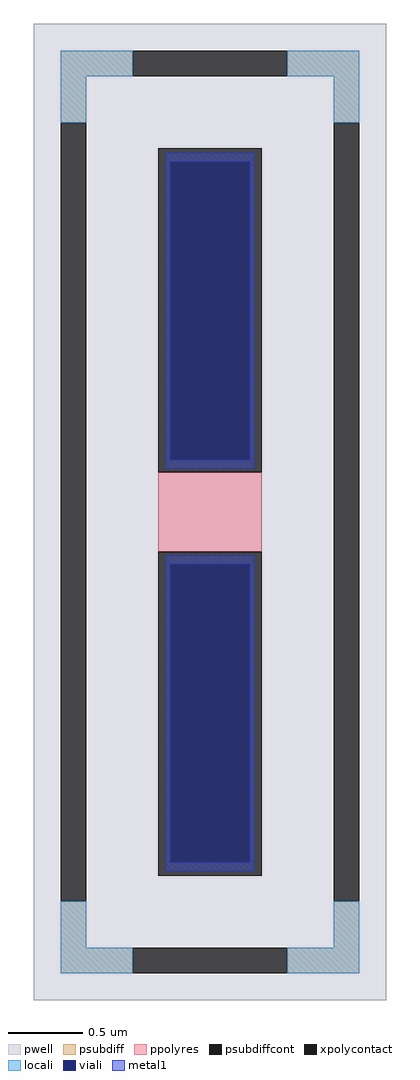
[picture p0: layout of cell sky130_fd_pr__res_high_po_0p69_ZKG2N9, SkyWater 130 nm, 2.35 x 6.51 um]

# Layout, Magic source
magic
tech sky130A
magscale 1 2
<< pwell >>
rect -235 -651 235 651
<< psubdiff >>
rect -199 581 -103 615
rect 103 581 199 615
rect -199 519 -165 581
rect 165 519 199 581
rect -199 -581 -165 -519
rect 165 -581 199 -519
rect -199 -615 -103 -581
rect 103 -615 199 -581
<< psubdiffcont >>
rect -103 581 103 615
rect -199 -519 -165 519
rect 165 -519 199 519
rect -103 -615 103 -581
<< xpolycontact >>
rect -69 53 69 485
rect -69 -485 69 -53
<< ppolyres >>
rect -69 -53 69 53
<< locali >>
rect -199 581 -103 615
rect 103 581 199 615
rect -199 519 -165 581
rect 165 519 199 581
rect -199 -581 -165 -519
rect 165 -581 199 -519
rect -199 -615 -103 -581
rect 103 -615 199 -581
<< viali >>
rect -53 70 53 467
rect -53 -467 53 -70
<< metal1 >>
rect -59 467 59 479
rect -59 70 -53 467
rect 53 70 59 467
rect -59 58 59 70
rect -59 -70 59 -58
rect -59 -467 -53 -70
rect 53 -467 59 -70
rect -59 -479 59 -467
<< properties >>
string FIXED_BBOX -182 -598 182 598
string gencell sky130_fd_pr__res_high_po_0p69
string library sky130
string parameters w 0.690 l 0.69 m 1 nx 1 wmin 0.690 lmin 0.50 rho 319.8 val 884.495 dummy 0 dw 0.0 term 194.82 sterm 0.0 caplen 0 guard 1 glc 1 grc 1 gtc 1 gbc 1 compatible {sky130_fd_pr__res_high_po_0p35  sky130_fd_pr__res_high_po_0p69 sky130_fd_pr__res_high_po_1p41  sky130_fd_pr__res_high_po_2p85 sky130_fd_pr__res_high_po_5p73} snake 0 full_metal 1 wmax 0.690 n_guard 0 hv_guard 0 vias 1 viagb 0 viagt 0 viagl 0 viagr 0
<< end >>
